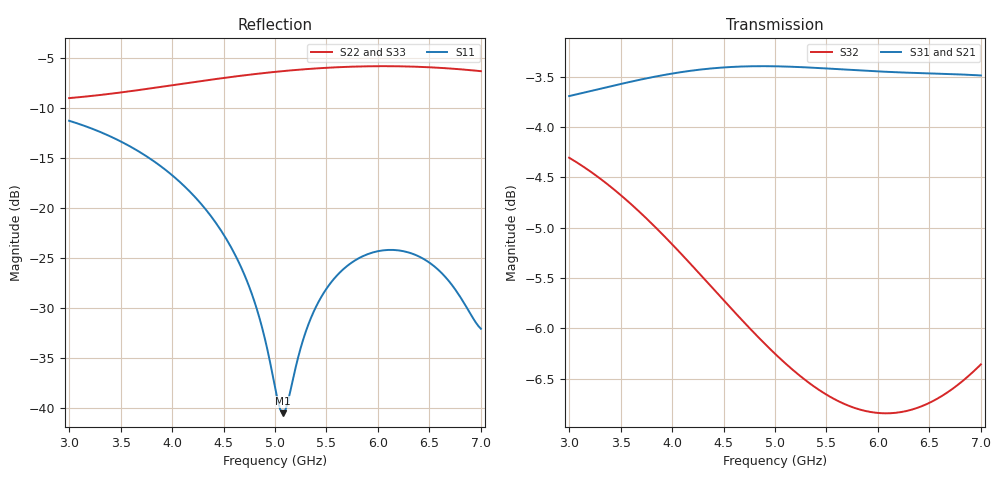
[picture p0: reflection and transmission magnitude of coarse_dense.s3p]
! yapnr rf: divider-osh-w-star-sched-w-nom-fwd, footprint re-simulated (optimization grid)
! spec sha256 8c079531440f0056dd54a4f90b423d4cc30312f36e97c5c88ba4866864ec55a1
! 3 ports renormalized to 50 ohm, e^(+jwt) convention
# GHz S RI R 50
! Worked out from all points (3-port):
!   161 points, 3 GHz to 7 GHz, reference 50 ohm
!   strongest paths, dB at 3 GHz, 4 GHz, 5 GHz, 6 GHz, 7 GHz:
!     S31: -3.7, -3.5, -3.4, -3.4, -3.5
!     S21: -3.7, -3.5, -3.4, -3.4, -3.5
!     S32: -4.3, -5.2, -6.3, -6.8, -6.4
!   lowest |S11| = -40.6 dB at 5.075 GHz (marker M1), VSWR 1.02, Z = 49.6 + j0.826 ohm
!   |S11| at or under -10 dB: start of sweep to end of sweep
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3  -0.0947 0.2546  -0.354 -0.55  -0.354 -0.55
   -0.354 -0.5495  0.307 0.1731  -0.5772 -0.1949
   -0.354 -0.5495  -0.5772 -0.1949  0.307 0.1731
3.6  0.00231 0.2011  -0.569 -0.3437  -0.569 -0.3437
     -0.5687 -0.3437  0.3786 -0.0506  -0.5607 0.1395
     -0.5687 -0.3437  -0.5607 0.1395  0.3786 -0.0506
4.35  0.0429 0.0844  -0.6731 0.0309  -0.6731 0.0309
      -0.6738 0.0298  0.2798 -0.3313  -0.3178 0.4214
      -0.6738 0.0298  -0.3178 0.4214  0.2798 -0.3313
4.75  0.0231 0.0328  -0.6303 0.2413  -0.6303 0.2413
      -0.6322 0.2403  0.1557 -0.4342  -0.1505 0.4784
      -0.6322 0.2403  -0.1505 0.4784  0.1557 -0.4342
5  0.0024 0.0124  -0.5692 0.3618  -0.5692 0.3618
   -0.5717 0.3613  0.0624 -0.4725  -0.0485 0.4844
   -0.5717 0.3613  -0.0485 0.4844  0.0624 -0.4725
5.075  -0.0043 0.00833  -0.5462 0.3952  -0.5462 0.3952
       -0.5489 0.395  0.033 -0.4796  -0.0191 0.4825
       -0.5489 0.395  -0.0191 0.4825  0.033 -0.4796
5.425  -0.034 0.000947  -0.414 0.5297  -0.414 0.5297
       -0.4169 0.5309  -0.1067 -0.4853  0.1086 0.4544
       -0.4169 0.5309  0.1086 0.4544  -0.1067 -0.4853
5.875  -0.0567 0.0116  -0.1987 0.6394  -0.1987 0.6394
       -0.2005 0.6424  -0.274 -0.4278  0.2476 0.383
       -0.2005 0.6424  0.2476 0.383  -0.274 -0.4278
6.475  -0.048 0.0251  0.1235 0.6559  0.1235 0.6559
       0.125 0.6592  -0.4301 -0.2614  0.3911 0.2415
       0.125 0.6592  0.3911 0.2415  -0.4301 -0.2614
7  -0.0248 -0.00046  0.3889 0.5415  0.3889 0.5415
   0.3925 0.5421  -0.4745 -0.0758  0.4753 0.074
   0.3925 0.5421  0.4753 0.074  -0.4745 -0.0758
